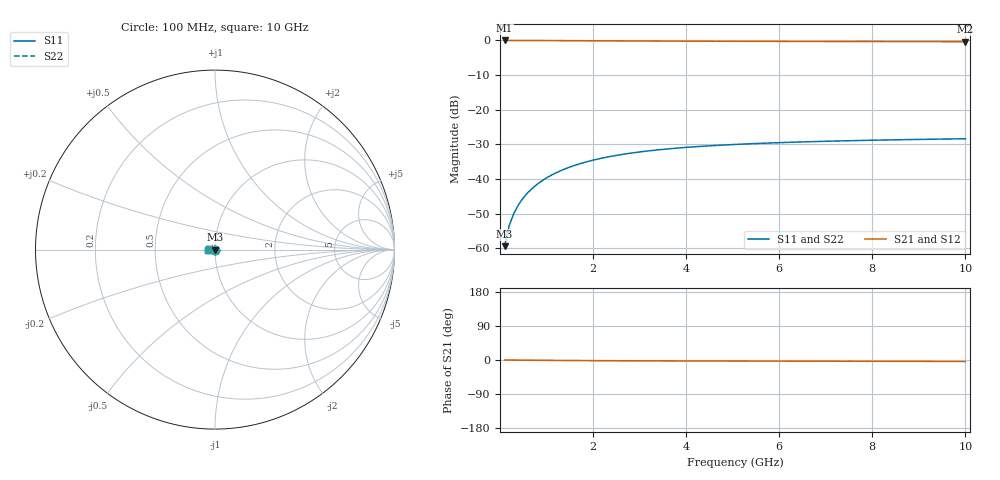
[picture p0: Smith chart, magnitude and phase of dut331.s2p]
! Touchstone file exported from HFSS 2024.1.0
!  File:  C:/UserFiles/LocalFiles/RDL_TSV_Batchsim/temp_TSV1_331_1779617859.aedt
!  Generated:  06:25:52 PM May 24, 2026
!  Design:  TSV1
!  Project:  temp_TSV1_331_1779617859
!  Setup:  Setup1
!  Solution:  Sweep
! Variables:
!  dtsv = 12.26um
!  hbump = 3um
!  htsv = 57.59um
!  lrdl = 252.1521522um
!  p = 40
!  p1 = 50.23um
!  t = 500um
!  trdl = 3um
!  wrdl = 24.89489489um
# GHz S MA R 50.000000
! Terminal data exported
! Port[1] = TSV22_T1
! Port[2] = TSV22_T2
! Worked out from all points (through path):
!   100 points, 100 MHz to 10 GHz, reference 50 ohm
!   highest |S21| = 0.00 dB at 100 MHz (marker M1); lowest = -0.3 dB at 10 GHz (marker M2)
!   lowest |S11| = -59.4 dB at 100 MHz (marker M3), VSWR 1.00, Z = 50 - j0.107 ohm
!   |S11| at or under -10 dB: start of sweep to end of sweep
!   |S22| runs from -59.4 to -28.4 dB; largest |S21 - S12| = 5.6e-15
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0.1  0.001069 -87.5  0.9999 -0.1  0.9999 -0.1  0.001069 -87.5
! Gamma 0 0 0 0
! Port Impedance 50 0 50 0
0.2  0.002134 -91.2  0.9998 -0.2  0.9998 -0.2  0.002134 -91.2
0.3  0.003198 -93.6  0.9996 -0.3  0.9996 -0.3  0.003198 -93.6
0.4  0.004259 -95.7  0.9993 -0.4  0.9993 -0.4  0.004259 -95.7
0.5  0.005311 -97.6  0.999 -0.5  0.999 -0.5  0.005311 -97.6
0.6  0.006351 -99.5  0.9987 -0.6  0.9987 -0.6  0.006351 -99.5
0.7  0.007376 -101.3  0.9983 -0.7  0.9983 -0.7  0.007376 -101.3
0.8  0.008384 -103.1  0.9978 -0.8  0.9978 -0.8  0.008384 -103.1
0.9  0.009372 -104.8  0.9973 -0.8  0.9973 -0.8  0.009372 -104.8
1.1  0.01128 -108.2  0.9962 -1.0  0.9962 -1.0  0.01128 -108.2
1.4  0.01397 -113.0  0.9942 -1.2  0.9942 -1.2  0.01397 -113.0
1.6  0.01564 -116.1  0.9928 -1.4  0.9928 -1.4  0.01564 -116.1
1.8  0.0172 -119.0  0.9914 -1.5  0.9914 -1.5  0.0172 -119.0
2.1  0.01934 -123.1  0.9892 -1.7  0.9892 -1.7  0.01934 -123.1
2.5  0.02186 -128.0  0.9863 -1.9  0.9863 -1.9  0.02186 -128.0
2.9  0.02403 -132.5  0.9835 -2.1  0.9835 -2.1  0.02403 -132.5
3.4  0.0263 -137.5  0.9804 -2.3  0.9804 -2.3  0.0263 -137.5
4.2  0.02918 -144.3  0.976 -2.5  0.976 -2.5  0.02918 -144.3
5.1  0.03159 -150.7  0.9722 -2.7  0.9722 -2.7  0.03159 -150.7
6.7  0.03454 -159.6  0.9672 -3.1  0.9672 -3.1  0.03454 -159.6
8.4  0.03663 -166.9  0.9636 -3.5  0.9636 -3.5  0.03663 -166.9
10  0.03804 -172.6  0.9613 -3.9  0.9613 -3.9  0.03804 -172.6
